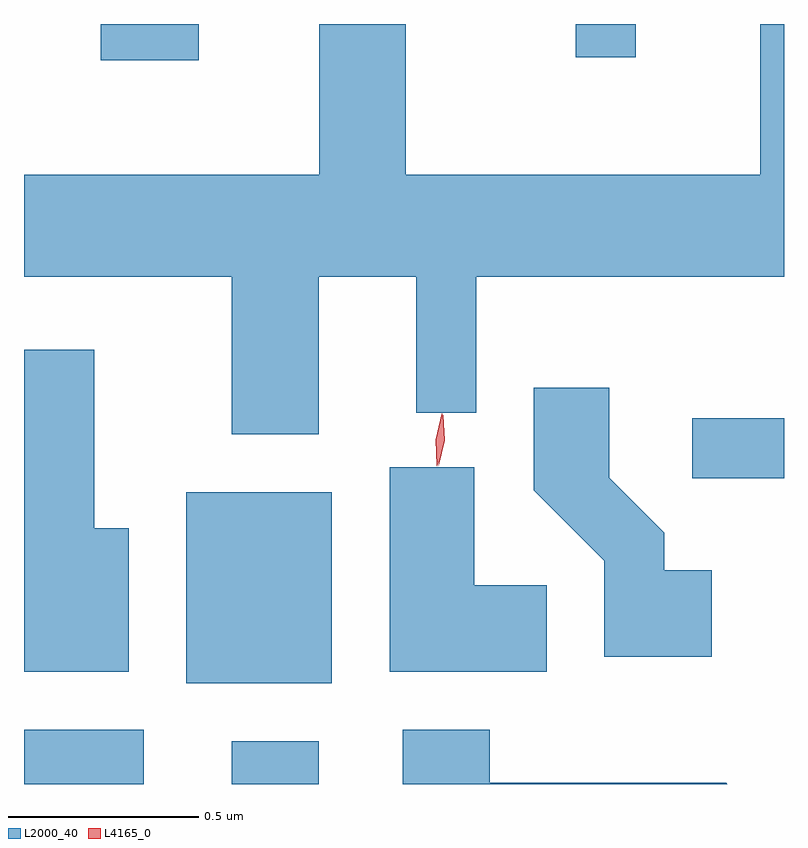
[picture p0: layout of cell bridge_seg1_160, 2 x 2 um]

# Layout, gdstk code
import gdstk
lib = gdstk.Library(unit=1e-6, precision=1e-09)
def R(c, l, rs):  # rectangles x0, y0, x1, y1
    for r in rs: c.add(gdstk.rectangle(r[:2], r[2:], *l))
def P(c, l, *ps):  # polygons
    for p in ps: c.add(gdstk.Polygon(p, *l))
L2000_40 = (2000, 40)
L4165_0 = (4165, 0)

bridge_seg1_160 = lib.new_cell('bridge_seg1_160')
R(bridge_seg1_160, L2000_40, [(861.084,951.521,861.399,951.664), (861.631,951.521,861.859,951.634), (861.511,951.786,861.894,952.289), (862.843,952.326,863.084,952.484), (861.286,953.426,861.544,953.521), (862.536,953.433,862.694,953.521)])
P(bridge_seg1_160, L2000_40, [(861.859,952.856),(862.116,952.856),(862.116,952.498),(862.274,952.498),(862.274,952.856),(863.084,952.856),(863.084,953.521),(863.021,953.521),(863.021,953.124),(862.089,953.124),(862.089,953.521),(861.861,953.521),(861.861,953.124),(861.084,953.124),(861.084,952.856),(861.631,952.856),(861.631,952.441),(861.859,952.441)],
  [(861.359,952.194),(861.269,952.194),(861.269,952.664),(861.084,952.664),(861.084,951.816),(861.359,951.816)],
  [(862.894,952.084),(862.769,952.084),(862.769,952.182),(862.624,952.327),(862.624,952.564),(862.426,952.564),(862.426,952.294),(862.611,952.109),(862.611,951.856),(862.894,951.856)],
  [(862.459,952.044),(862.269,952.044),(862.269,952.354),(862.046,952.354),(862.046,951.816),(862.459,951.816)],
  [(862.932,951.524),(862.309,951.524),(862.309,951.664),(862.081,951.664),(862.081,951.521),(862.935,951.521)])
P(bridge_seg1_160, L4165_0, [(862.17,952.358),(862.167,952.427),(862.183,952.495),(862.184,952.495),(862.184,952.495),(862.187,952.426),(862.171,952.358),(862.171,952.358)],
  [(862.176,952.359),(862.175,952.36),(862.171,952.426),(862.186,952.491),(862.186,952.492),(862.187,952.491),(862.191,952.425),(862.176,952.36)])

lib.write_gds('bridge_seg1_160.gds')
